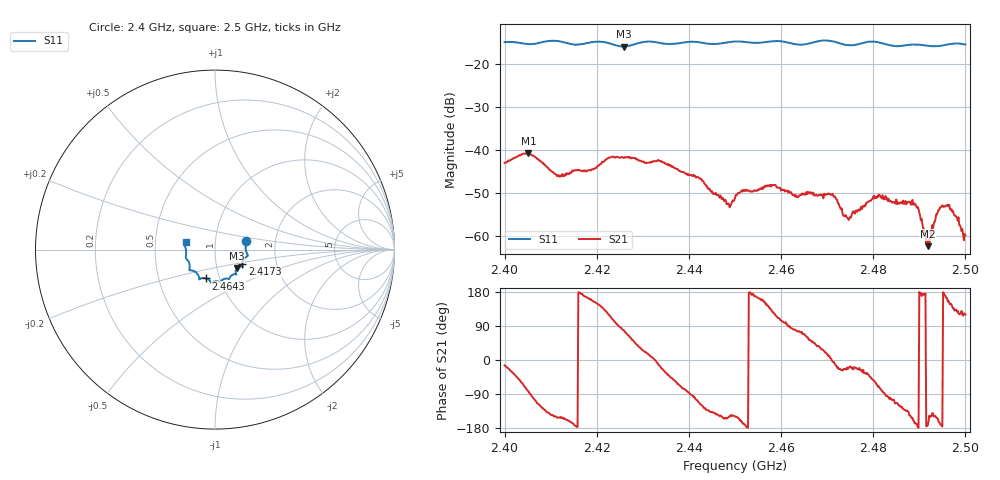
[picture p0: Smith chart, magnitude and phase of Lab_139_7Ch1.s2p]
# Hz S RI R 50
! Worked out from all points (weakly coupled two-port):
!   601 points, 2.4 GHz to 2.5 GHz, reference 50 ohm
!   highest |S21| = -40.67 dB at 2.4052 GHz (marker M1); lowest = -62.3 dB at 2.4918 GHz (marker M2)
!   lowest |S11| = -15.9 dB at 2.4258 GHz (marker M3), VSWR 1.38, Z = 62.3 - j13.2 ohm
!   |S11| at or under -10 dB: start of sweep to end of sweep
!   S12 and S22 are empty: the file has one direction only
!   S11 on the Smith chart (normalised r, x): 2.4 GHz: 1.41, +0.14; 2.4173 GHz: 1.34, -0.23; 2.4643 GHz: 0.86, -0.28; 2.5 GHz: 0.72, +0.06
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2.4e9  0.1732 0.0494  0.0069 -0.00177  0 0  0 0
2.405167e9  0.1703 0.0117  0.0012 -0.00918  0 0  0 0
2.4115e9  0.1821 -0.0356  -0.00444 -0.00228  0 0  0 0
2.416667e9  0.1529 -0.0748  -0.00568 0.000599  0 0  0 0
2.417333e9  0.1522 -0.0821  -0.00571 0.0012  0 0  0 0
2.425833e9  0.1219 -0.1034  0.00161 0.00801  0 0  0 0
2.433333e9  0.1128 -0.137  0.00756 -0.00157  0 0  0 0
2.442167e9  0.074 -0.1636  -0.00179 -0.00447  0 0  0 0
2.448667e9  0.0331 -0.1766  -0.00204 -0.0012  0 0  0 0
2.45e9  0.0296 -0.1808  -0.0024 -0.00144  0 0  0 0
2.458167e9  -0.0191 -0.1834  -0.00234 0.00319  0 0  0 0
2.464333e9  -0.0498 -0.1606  0.000939 0.00293  0 0  0 0
2.466667e9  -0.0758 -0.1597  0.00217 0.00238  0 0  0 0
2.471167e9  -0.0872 -0.1621  0.00311 -0.000205  0 0  0 0
2.474667e9  -0.1031 -0.1295  0.00145 -0.000555  0 0  0 0
2.480333e9  -0.1431 -0.1124  0.0015 -0.00231  0 0  0 0
2.483333e9  -0.1408 -0.0898  -0.000381 -0.0027  0 0  0 0
2.489e9  -0.1625 -0.0459  -0.00229 -0.000507  0 0  0 0
2.491833e9  -0.1611 -0.0269  -0.000763 -9.86e-05  0 0  0 0
2.494167e9  -0.1619 -4.39e-05  -0.00193 -0.000601  0 0  0 0
2.496e9  -0.1671 0.019  -0.00216 0.000634  0 0  0 0
2.5e9  -0.1638 0.0422  -0.000506 0.000899  0 0  0 0
